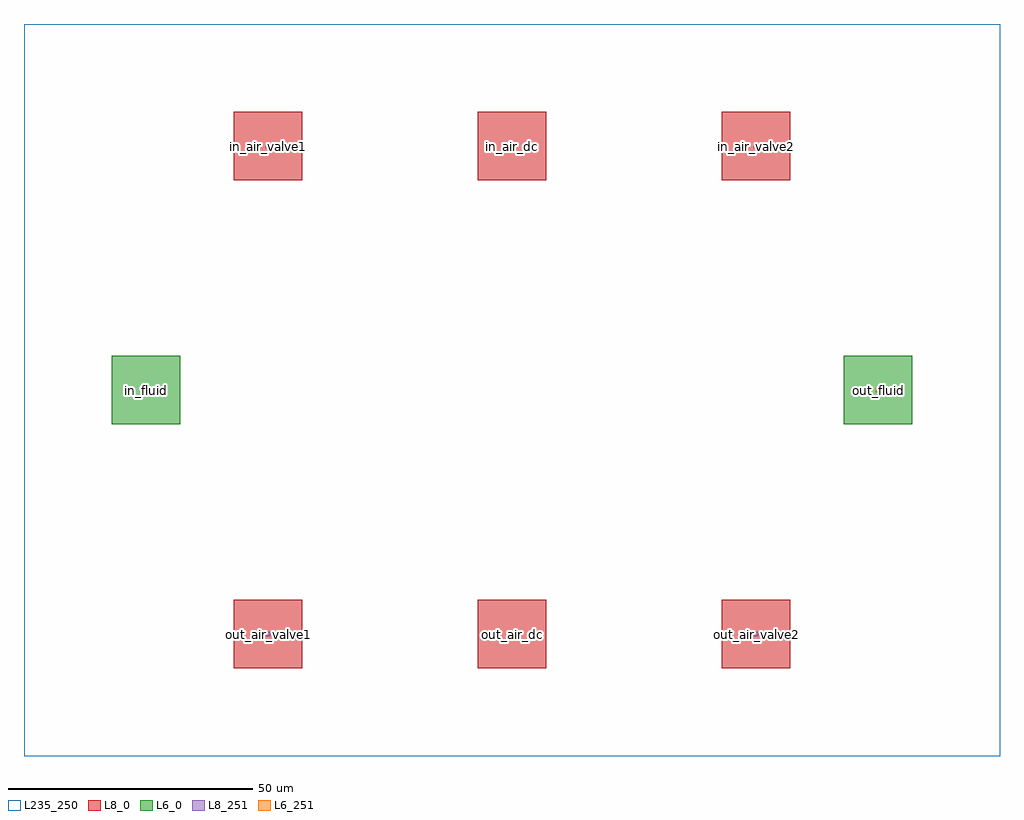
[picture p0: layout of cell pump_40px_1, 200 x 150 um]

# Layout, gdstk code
import gdstk
lib = gdstk.Library(unit=1e-6, precision=1e-09)
def R(c, l, rs):  # rectangles x0, y0, x1, y1
    for r in rs: c.add(gdstk.rectangle(r[:2], r[2:], *l))
def A(c, l, x, y, w, h, nx, ny, dx, dy):  # array of equal rectangles
    R(c, l, [(x+i*dx, y+j*dy, x+i*dx+w, y+j*dy+h) for i in range(nx) for j in range(ny)])
L6_0 = (6, 0)
L6_251 = (6, 251)
L8_0 = (8, 0)
L8_251 = (8, 251)
L235_250 = (235, 250)

pump_40px_1 = lib.new_cell('pump_40px_1')
R(pump_40px_1, L6_0, [(18,68,32,82), (168,68,182,82)])
R(pump_40px_1, L6_251, [(24.5,74.5,25.5,75.5), (174.5,74.5,175.5,75.5)])
A(pump_40px_1, L8_0, 43, 18, 14, 14, 3, 2, 50, 100)
A(pump_40px_1, L8_251, 49.5, 24.5, 1, 1, 3, 2, 50, 100)
R(pump_40px_1, L235_250, [(0,0,200,150)])
pump_40px_1.add(gdstk.Label('out_fluid', (175,75), layer=6, texttype=251))
pump_40px_1.add(gdstk.Label('in_fluid', (25,75), layer=6, texttype=251))
pump_40px_1.add(gdstk.Label('out_air_valve2', (150,25), layer=8, texttype=251))
pump_40px_1.add(gdstk.Label('out_air_dc', (100,25), layer=8, texttype=251))
pump_40px_1.add(gdstk.Label('out_air_valve1', (50,25), layer=8, texttype=251))
pump_40px_1.add(gdstk.Label('in_air_valve2', (150,125), layer=8, texttype=251))
pump_40px_1.add(gdstk.Label('in_air_dc', (100,125), layer=8, texttype=251))
pump_40px_1.add(gdstk.Label('in_air_valve1', (50,125), layer=8, texttype=251))

lib.write_gds('pump_40px_1.gds')
